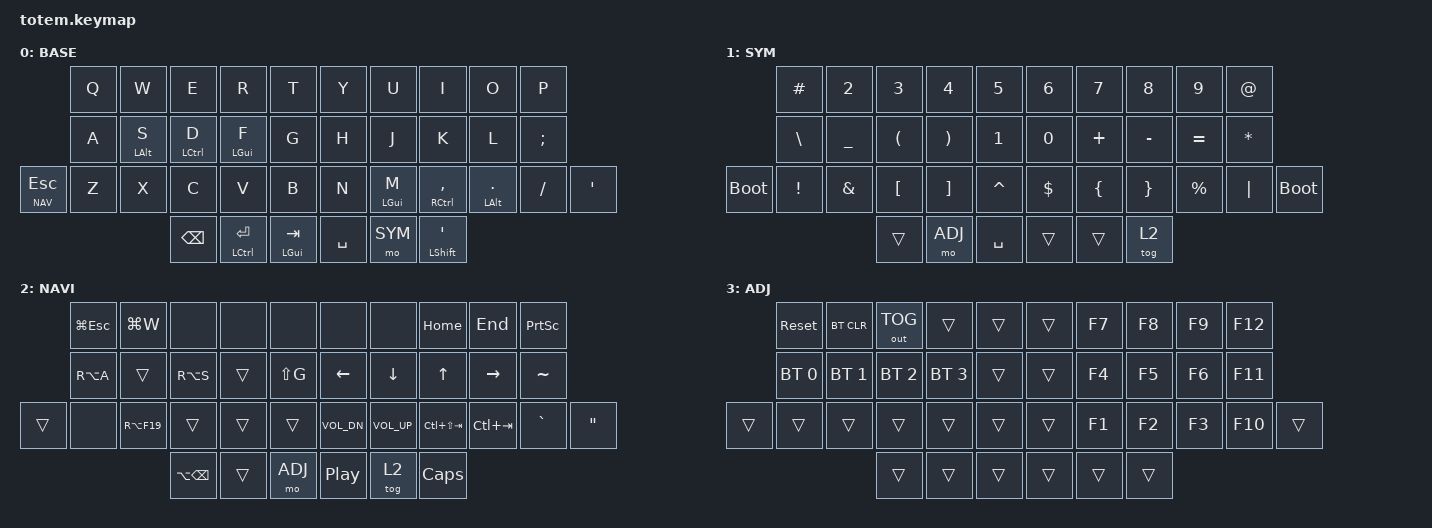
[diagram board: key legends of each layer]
//
//                                                        ▀▀▀▀▀     ▀▀▀▀▀          ▀▀█▀▀
//                                                        ▄▀▀▀▄  ▄  ▄▀▀▀▄  ▄  ▄▀▀▀▄  █  ▄▀▀▀▄
//                                                        █   █  █  █   █  █  █   █  █  █   █
//                                                         ▀▀▀   █   ▀▀▀   █   ▀▀▀   ▀   ▀▀▀
//                                                               █      ▄▄▄█▄▄▄    █   █  
//                                                               ▀      █  █  █     █▄█
//                                                             ▀▀▀▀▀    █  █  █      ▀
//                                                                      ▀  ▀  ▀
//
// ▄▄▄▄▄▄▄▄▄▄▄▄▄▄▄▄▄▄▄▄▄▄▄▄▄▄▄▄▄▄▄▄▄▄▄▄▄▄▄▄▄▄▄▄▄▄▄▄▄▄▄▄▄▄▄▄▄▄▄▄▄▄▄▄▄▄▄▄▄▄▄▄▄▄▄▄▄▄▄▄▄▄▄▄▄▄▄▄▄▄▄▄▄▄▄▄▄▄▄▄▄▄▄▄▄▄▄▄▄▄▄▄▄▄▄▄▄▄▄▄▄▄▄▄▄▄▄▄▄▄▄▄▄▄▄▄▄▄▄▄▄▄▄▄▄▄▄▄▄

#include <behaviors.dtsi>
#include <dt-bindings/zmk/bt.h>
#include <dt-bindings/zmk/keys.h>
#include <dt-bindings/zmk/outputs.h>

#define BASE 0
#define SYM  1
#define NAV  2
#define ADJ  3
#define TVP1 4
#define TVP2 5

&mt {
    quick-tap-ms = <100>;
    flavor = "balanced";
    tapping-term-ms = <200>;
};

/ {
    //  combos {
    //         compatible = "zmk,combos";
    //         combo_esc {
    //             timeout-ms = <50>;
    //             key-positions = <0 1>;
    //             bindings = <&kp ESC>;
    //         };
    //         combo_tvp {
    //             timeout-ms = <100>;
    //             key-positions = <11 12 13>;
    //             bindings = <&tog TVP1>;
    //         };
    // };
    //
    // macros {
    //     gif: gif {
    //         label = "giphy";
    //         compatible = "zmk,behavior-macro";
    //         #binding-cells = <0>;
    //         bindings
    //             = <&macro_press &kp LSHFT>
    //             , <&macro_tap &kp N2>
    //             , <&macro_release &kp LSHFT>
    //             , <&macro_tap &kp G &kp I &kp F>
    //             ;
    //     };
    // };

    keymap {
        compatible = "zmk,keymap";

        // ▄▄▄▄▄▄▄▄▄▄▄▄▄▄▄▄▄▄▄▄▄▄▄▄▄▄▄▄▄▄▄▄▄▄▄▄▄▄▄▄▄▄▄▄▄▄▄▄▄▄▄▄▄▄▄▄▄▄▄▄▄▄▄▄▄▄▄▄▄▄▄▄▄▄▄▄▄▄▄▄▄▄▄▄▄▄▄▄▄▄▄▄▄▄▄▄▄▄▄▄▄▄▄▄▄▄▄▄▄▄▄▄▄▄▄▄▄▄▄▄▄▄▄▄▄▄▄▄▄▄▄▄▄▄▄▄▄▄▄▄▄▄▄▄▄▄▄▄▄

        base_layer {
            // ┏━━━━━━━━━━━━━━━━━━━━━━━━━━━━━━━━━━━━━━━┓

            label = "BASE";

            // ┗━━━━━━━━━━━━━━━━━━━━━━━━━━━━━━━━━━━━━━━┛
            //             ┏━━━━━━━━━━━┳━━━━━━━━━━━┳━━━━━━━━━━━┳━━━━━━━━━━━┳━━━━━━━━━━━┓   ┏━━━━━━━━━━━┳━━━━━━━━━━━┳━━━━━━━━━━━┳━━━━━━━━━━━┳━━━━━━━━━━━┓
            //             ┃     Q     ┃     W     ┃     F     ┃     P     ┃     G     ┃   ┃     J     ┃     L     ┃     U     ┃     Y     ┃     ;     ┃
            //             ┣━━━━━━━━━━━╋━━━━━━━━━━━╋━━━━━━━━━━━╋━━━━━━━━━━━╋━━━━━━━━━━━┫   ┣━━━━━━━━━━━╋━━━━━━━━━━━╋━━━━━━━━━━━╋━━━━━━━━━━━╋━━━━━━━━━━━┫
            //             ┃     A     ┃     R     ┃     S     ┃     T     ┃     D     ┃   ┃     H     ┃     N     ┃     E     ┃     I     ┃     O     ┃
            // ┏━━━━━━━━━━━╋━━━━━━━━━━━╋━━━━━━━━━━━╋━━━━━━━━━━━╋━━━━━━━━━━━╋━━━━━━━━━━━┫   ┣━━━━━━━━━━━╋━━━━━━━━━━━╋━━━━━━━━━━━╋━━━━━━━━━━━╋━━━━━━━━━━━╋━━━━━━━━━━━┓
            // ┃     Q     ┃     Z     ┃     X     ┃     C     ┃     V     ┃     B     ┃   ┃     K     ┃     M     ┃     ,     ┃     .     ┃     /     ┃     \     ┃
            // ┗━━━━━━━━━━━┻━━━━━━━━━━━┻━━━━━━━━━━━╋━━━━━━━━━━━╋━━━━━━━━━━━╋━━━━━━━━━━━┫   ┣━━━━━━━━━━━╋━━━━━━━━━━━╋━━━━━━━━━━━╋━━━━━━━━━━━┻━━━━━━━━━━━┻━━━━━━━━━━━┛
            //                                     ┃    DEL    ┃    TAB    ┃    SPC    ┃   ┃   ENTER   ┃           ┃   BSPC    ┃
            //                                     ┗━━━━━━━━━━━┻━━━━━━━━━━━┻━━━━━━━━━━━┛   ┗━━━━━━━━━━━┻━━━━━━━━━━━┻━━━━━━━━━━━┛

            bindings = <
             &kp Q  &kp W       &kp E        &kp R          &kp T               &kp Y      &kp U       &kp I                   &kp O         &kp P
             &kp A  &mt LALT S  &mt LCTRL D  &mt LGUI F     &kp G               &kp H      &kp J       &kp K                   &kp L         &kp SEMI
&lt NAV ESC  &kp Z  &kp X       &kp C        &kp V          &kp B               &kp N      &mt LGUI M  &mt RCTRL COMMA         &mt LALT DOT  &kp FSLH  &kp SINGLE_QUOTE
                                &kp BSPC     &mt LCTRL RET  &mt LEFT_GUI TAB    &kp SPACE  &mo SYM     &mt LSHFT SINGLE_QUOTE
            >;
        };

        // ▄▄▄▄▄▄▄▄▄▄▄▄▄▄▄▄▄▄▄▄▄▄▄▄▄▄▄▄▄▄▄▄▄▄▄▄▄▄▄▄▄▄▄▄▄▄▄▄▄▄▄▄▄▄▄▄▄▄▄▄▄▄▄▄▄▄▄▄▄▄▄▄▄▄▄▄▄▄▄▄▄▄▄▄▄▄▄▄▄▄▄▄▄▄▄▄▄▄▄▄▄▄▄▄▄▄▄▄▄▄▄▄▄▄▄▄▄▄▄▄▄▄▄▄▄▄▄▄▄▄▄▄▄▄▄▄▄▄▄▄▄▄▄▄▄▄▄▄▄

        symbol_layer {
            // ┏━━━━━━━━━━━━━━━━━━━━━━━━━━━━━━━━━━━━━━━┓

            label = "SYM";

            // ┗━━━━━━━━━━━━━━━━━━━━━━━━━━━━━━━━━━━━━━━┛
            //             ┏━━━━━━━━━━━┳━━━━━━━━━━━┳━━━━━━━━━━━┳━━━━━━━━━━━┳━━━━━━━━━━━┓   ┏━━━━━━━━━━━┳━━━━━━━━━━━┳━━━━━━━━━━━┳━━━━━━━━━━━┳━━━━━━━━━━━┓
            //             ┃           ┃           ┃     UP    ┃           ┃     {     ┃   ┃     }     ┃     7     ┃     8     ┃     9     ┃     +     ┃
            //             ┣━━━━━━━━━━━╋━━━━━━━━━━━╋━━━━━━━━━━━╋━━━━━━━━━━━╋━━━━━━━━━━━┫   ┣━━━━━━━━━━━╋━━━━━━━━━━━╋━━━━━━━━━━━╋━━━━━━━━━━━╋━━━━━━━━━━━┫
            //             ┃   SHIFT   ┃   LEFT    ┃    DOWN   ┃   RIGHT   ┃     [     ┃   ┃     ]     ┃     4     ┃     5     ┃     6     ┃     -     ┃
            // ┏━━━━━━━━━━━╋━━━━━━━━━━━╋━━━━━━━━━━━╋━━━━━━━━━━━╋━━━━━━━━━━━╋━━━━━━━━━━━┫   ┣━━━━━━━━━━━╋━━━━━━━━━━━╋━━━━━━━━━━━╋━━━━━━━━━━━╋━━━━━━━━━━━╋━━━━━━━━━━━┓
            // ┃           ┃           ┃   P UP    ┃  C LOCK   ┃  P DOWN   ┃     (     ┃   ┃     )     ┃     1     ┃     2     ┃     3     ┃     *     ┃           ┃
            // ┗━━━━━━━━━━━┻━━━━━━━━━━━┻━━━━━━━━━━━╋━━━━━━━━━━━╋━━━━━━━━━━━╋━━━━━━━━━━━┫   ┣━━━━━━━━━━━╋━━━━━━━━━━━╋━━━━━━━━━━━╋━━━━━━━━━━━┻━━━━━━━━━━━┻━━━━━━━━━━━┛
            //                                     ┃           ┃    TAB    ┃    SPC    ┃   ┃    DEL    ┃     0     ┃           ┃
            //                                     ┗━━━━━━━━━━━┻━━━━━━━━━━━┻━━━━━━━━━━━┛   ┗━━━━━━━━━━━┻━━━━━━━━━━━┻━━━━━━━━━━━┛

            bindings = <
             &kp HASH  &kp N2     &kp N3    &kp N4    &kp N5       &kp N6    &kp N7    &kp N8     &kp N9     &kp AT
             &kp BSLH  &kp UNDER  &kp LPAR  &kp RPAR  &kp N1       &kp N0    &kp PLUS  &kp MINUS  &kp EQUAL  &kp ASTRK
&bootloader  &kp EXCL  &kp AMPS   &kp LBKT  &kp RBKT  &kp CARET    &kp DLLR  &kp LBRC  &kp RBRC   &kp PRCNT  &kp PIPE   &bootloader
                                  &trans    &mo ADJ   &kp SPACE    &trans    &trans    &tog 2
            >;
        };

        // ▄▄▄▄▄▄▄▄▄▄▄▄▄▄▄▄▄▄▄▄▄▄▄▄▄▄▄▄▄▄▄▄▄▄▄▄▄▄▄▄▄▄▄▄▄▄▄▄▄▄▄▄▄▄▄▄▄▄▄▄▄▄▄▄▄▄▄▄▄▄▄▄▄▄▄▄▄▄▄▄▄▄▄▄▄▄▄▄▄▄▄▄▄▄▄▄▄▄▄▄▄▄▄▄▄▄▄▄▄▄▄▄▄▄▄▄▄▄▄▄▄▄▄▄▄▄▄▄▄▄▄▄▄▄▄▄▄▄▄▄▄▄▄▄▄▄▄▄▄

        navi_layer {
            // ┏━━━━━━━━━━━━━━━━━━━━━━━━━━━━━━━━━━━━━━━┓

            label = "NAVI";

            // ┗━━━━━━━━━━━━━━━━━━━━━━━━━━━━━━━━━━━━━━━┛
            //             ┏━━━━━━━━━━━┳━━━━━━━━━━━┳━━━━━━━━━━━┳━━━━━━━━━━━┳━━━━━━━━━━━┓   ┏━━━━━━━━━━━┳━━━━━━━━━━━┳━━━━━━━━━━━┳━━━━━━━━━━━┳━━━━━━━━━━━┓
            //             ┃     !     ┃     @     ┃     #     ┃     $     ┃     %     ┃   ┃     ˆ     ┃     &     ┃     Ü     ┃     '     ┃     "     ┃
            //             ┣━━━━━━━━━━━╋━━━━━━━━━━━╋━━━━━━━━━━━╋━━━━━━━━━━━╋━━━━━━━━━━━┫   ┣━━━━━━━━━━━╋━━━━━━━━━━━╋━━━━━━━━━━━╋━━━━━━━━━━━╋━━━━━━━━━━━┫
            //             ┃     Ä     ┃           ┃    SZ     ┃           ┃           ┃   ┃   MUTE    ┃   YEN     ┃   EURO    ┃  POUND    ┃     Ö     ┃
            // ┏━━━━━━━━━━━╋━━━━━━━━━━━╋━━━━━━━━━━━╋━━━━━━━━━━━╋━━━━━━━━━━━╋━━━━━━━━━━━┫   ┣━━━━━━━━━━━╋━━━━━━━━━━━╋━━━━━━━━━━━╋━━━━━━━━━━━╋━━━━━━━━━━━╋━━━━━━━━━━━┓
            // ┃           ┃  EMAIL1   ┃  EMAIL2   ┃           ┃           ┃           ┃   ┃   VOL-    ┃   VOL+    ┃   LAST    ┃   NEXT    ┃     \     ┃           ┃
            // ┗━━━━━━━━━━━┻━━━━━━━━━━━┻━━━━━━━━━━━╋━━━━━━━━━━━╋━━━━━━━━━━━╋━━━━━━━━━━━┫   ┣━━━━━━━━━━━╋━━━━━━━━━━━╋━━━━━━━━━━━╋━━━━━━━━━━━┻━━━━━━━━━━━┻━━━━━━━━━━━┛
            //                                     ┃           ┃    GIF    ┃    ADJ    ┃   ┃           ┃           ┃           ┃
            //                                     ┗━━━━━━━━━━━┻━━━━━━━━━━━┻━━━━━━━━━━━┛   ┗━━━━━━━━━━━┻━━━━━━━━━━━┻━━━━━━━━━━━┛

            bindings = <
        &kp LG(ESC)  &kp LG(W)    &none              &none   &none        &none             &none         &kp HOME         &kp END      &kp PSCRN
        &kp RA(A)    &trans       &kp RA(S)          &trans  &kp LS(G)    &kp LEFT          &kp DOWN      &kp UP           &kp RIGHT    &kp TILDE
&trans  &none        &kp RA(F19)  &trans             &trans  &trans       &kp C_VOL_DN      &kp C_VOL_UP  &kp LC(LS(TAB))  &kp LC(TAB)  &kp GRAVE  &kp DOUBLE_QUOTES
                                  &kp LA(BACKSPACE)  &trans  &mo ADJ      &kp C_PLAY_PAUSE  &tog 2        &kp CAPSLOCK
            >;
        };

        // ▄▄▄▄▄▄▄▄▄▄▄▄▄▄▄▄▄▄▄▄▄▄▄▄▄▄▄▄▄▄▄▄▄▄▄▄▄▄▄▄▄▄▄▄▄▄▄▄▄▄▄▄▄▄▄▄▄▄▄▄▄▄▄▄▄▄▄▄▄▄▄▄▄▄▄▄▄▄▄▄▄▄▄▄▄▄▄▄▄▄▄▄▄▄▄▄▄▄▄▄▄▄▄▄▄▄▄▄▄▄▄▄▄▄▄▄▄▄▄▄▄▄▄▄▄▄▄▄▄▄▄▄▄▄▄▄▄▄▄▄▄▄▄▄▄▄▄▄▄

        adjust_layer {
            // ┏━━━━━━━━━━━━━━━━━━━━━━━━━━━━━━━━━━━━━━━┓

            label = "ADJ";

            // ┗━━━━━━━━━━━━━━━━━━━━━━━━━━━━━━━━━━━━━━━┛
            //             ┏━━━━━━━━━━━┳━━━━━━━━━━━┳━━━━━━━━━━━┳━━━━━━━━━━━┳━━━━━━━━━━━┓   ┏━━━━━━━━━━━┳━━━━━━━━━━━┳━━━━━━━━━━━┳━━━━━━━━━━━┳━━━━━━━━━━━┓
            //             ┃   RESET   ┃ BT CLEAR  ┃  OUT TOG  ┃           ┃           ┃   ┃           ┃    F7     ┃    F8     ┃    F9     ┃    F12    ┃
            //             ┣━━━━━━━━━━━╋━━━━━━━━━━━╋━━━━━━━━━━━╋━━━━━━━━━━━╋━━━━━━━━━━━┫   ┣━━━━━━━━━━━╋━━━━━━━━━━━╋━━━━━━━━━━━╋━━━━━━━━━━━╋━━━━━━━━━━━┫
            //             ┃ BOOTLOAD  ┃ BT NEXT   ┃           ┃           ┃           ┃   ┃           ┃    F4     ┃    F5     ┃    F6     ┃    F11    ┃
            // ┏━━━━━━━━━━━╋━━━━━━━━━━━╋━━━━━━━━━━━╋━━━━━━━━━━━╋━━━━━━━━━━━╋━━━━━━━━━━━┫   ┣━━━━━━━━━━━╋━━━━━━━━━━━╋━━━━━━━━━━━╋━━━━━━━━━━━╋━━━━━━━━━━━╋━━━━━━━━━━━┓
            // ┃           ┃           ┃ BT PREV   ┃           ┃           ┃           ┃   ┃           ┃    F1     ┃    F2     ┃    F3     ┃    F10    ┃           ┃
            // ┗━━━━━━━━━━━┻━━━━━━━━━━━┻━━━━━━━━━━━╋━━━━━━━━━━━╋━━━━━━━━━━━╋━━━━━━━━━━━┫   ┣━━━━━━━━━━━╋━━━━━━━━━━━╋━━━━━━━━━━━╋━━━━━━━━━━━┻━━━━━━━━━━━┻━━━━━━━━━━━┛
            //                                     ┃           ┃           ┃           ┃   ┃           ┃           ┃           ┃
            //                                     ┗━━━━━━━━━━━┻━━━━━━━━━━━┻━━━━━━━━━━━┛   ┗━━━━━━━━━━━┻━━━━━━━━━━━┻━━━━━━━━━━━┛

            bindings = <
        &sys_reset    &bt BT_CLR    &out OUT_TOG  &trans        &trans    &trans  &kp F7  &kp F8  &kp F9  &kp F12
        &bt BT_SEL 0  &bt BT_SEL 1  &bt BT_SEL 2  &bt BT_SEL 3  &trans    &trans  &kp F4  &kp F5  &kp F6  &kp F11
&trans  &trans        &trans        &trans        &trans        &trans    &trans  &kp F1  &kp F2  &kp F3  &kp F10  &trans
                                    &trans        &trans        &trans    &trans  &trans  &trans
            >;
        };

        // ▄▄▄▄▄▄▄▄▄▄▄▄▄▄▄▄▄▄▄▄▄▄▄▄▄▄▄▄▄▄▄▄▄▄▄▄▄▄▄▄▄▄▄▄▄▄▄▄▄▄▄▄▄▄▄▄▄▄▄▄▄▄▄▄▄▄▄▄▄▄▄▄▄▄▄▄▄▄▄▄▄▄▄▄▄▄▄▄▄▄▄▄▄▄▄▄▄▄▄▄▄▄▄▄▄▄▄▄▄▄▄▄▄▄▄▄▄▄▄▄▄▄▄▄▄▄▄▄▄▄▄▄▄▄▄▄▄▄▄▄▄▄▄▄▄▄▄▄▄
    };
};
